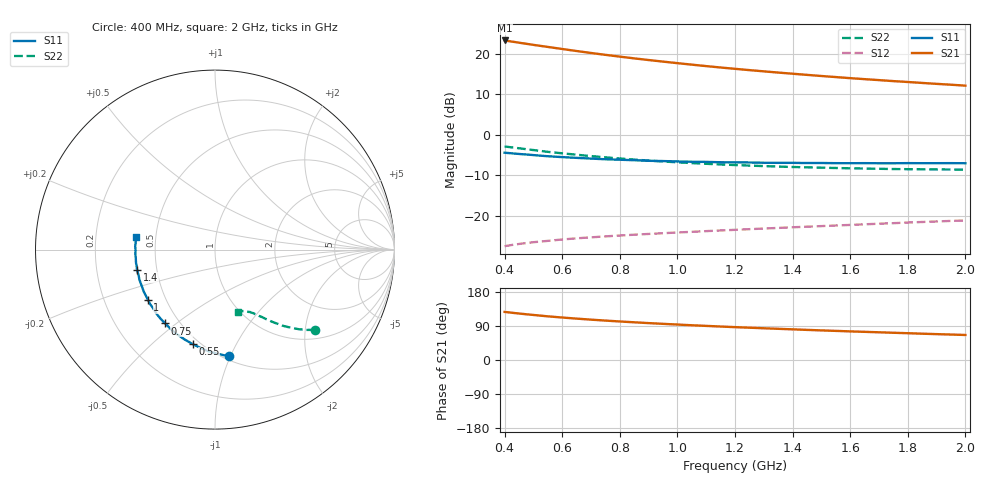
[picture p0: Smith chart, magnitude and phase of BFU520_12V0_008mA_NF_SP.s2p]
! Filename:  P:\Prog\Test\Noise\ATS_data\Testdata_Net\06 Compressed Noise after Statistics\BFU520_APG2013_37_A05_12p0V_008mA_NF_CM01_D.sf
! Date/Time: Fri 26/Apr/2013 14:13:14
! BFU520_APG2013_37_A05_12p0V_1to20mA_NF_CM01_Bias5_R.sf
! Noise Parameter Data File
! BFU520_APG2013_37_A05_12p0V_1to20mA_NF_CM01
! Date/time: Tue Apr 23 19:55:39 2013
! VAR V_out= 12.001000
! VAR I_out= 7.995000
! VAR V_in= 0.812000
! VAR I_in= 0.079005
! Device data file deembeded for feedlines and parallel
! Original file: \06 Compressed Noise after Statistics\BFU520_APG2013_37_A05_12p0V_008mA_NF_CM01_R.sf
! Feed-files: PR047V01_250413_Feed1.s2p, PR047V01_250413_Feed2.s2p
! Parallel-file: PR047V01_250413_Par.s2p
# MHz S MA R 50
!  Freq-MHz  S11-mag  S11-arg  S21-mag  S21-arg  S12-mag  S12-arg  S22-mag  S22-arg
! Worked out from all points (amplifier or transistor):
!   37 points, 400 MHz to 2 GHz, reference 50 ohm
!   highest |S21| = 23.3 dB at 400 MHz (marker M1)
!   |S21| within 3 dB of that: start of sweep to 690.5 MHz
!   unconditionally stable (mu >= 1): 1.988 GHz to end of sweep
!   at 500 MHz: K = 0.40, MSG = 24.4 dB, |S12| = -26.6 dB
!   at 1.1 GHz: K = 0.74, MSG = 20.4 dB, |S12| = -23.8 dB
!   at 2 GHz: K = 1.00, MAG = 16.3 dB, |S12| = -21.2 dB
!   lowest NFmin = 0.82 dB at 420 MHz
!   S11 on the Smith chart (normalised r, x): 400 MHz: 0.54, -0.99; 550 MHz: 0.46, -0.68; 750 MHz: 0.42, -0.46; 1 GHz: 0.40, -0.28; 1.4 GHz: 0.39, -0.11; 2 GHz: 0.39, +0.07
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400  0.5982 -82.4  14.55 126.9  0.04197 54.5  0.7142 -38.6
433  0.5842 -87.3  13.95 124.1  0.04383 53.1  0.6902 -40.4
460  0.5735 -91.2  13.49 121.9  0.04519 52.1  0.6723 -41.7
500  0.5592 -96.6  12.84 118.9  0.04697 50.7  0.6454 -43.5
550  0.5413 -103.2  12.11 115.2  0.0488 49.4  0.6134 -45.3
600  0.528 -108.9  11.42 112.1  0.05075 48.4  0.5885 -47.0
650  0.5167 -114.3  10.78 109.2  0.05248 47.5  0.5648 -48.5
700  0.5063 -119.2  10.19 106.5  0.05394 46.8  0.5434 -49.7
750  0.4965 -124.0  9.665 104.0  0.05544 46.3  0.5249 -50.9
800  0.4901 -128.2  9.183 101.7  0.05682 46.0  0.5073 -52.0
850  0.4834 -132.4  8.745 99.5  0.05815 45.6  0.4919 -52.8
900  0.4753 -136.4  8.34 97.3  0.05943 45.5  0.4787 -53.8
950  0.4718 -140.0  7.973 95.4  0.06067 45.3  0.4659 -54.6
1000  0.4667 -143.3  7.632 93.5  0.06194 45.3  0.4553 -55.3
1050  0.4624 -146.9  7.314 91.7  0.06312 45.3  0.4454 -56.2
1200  0.4543 -155.8  6.496 86.7  0.06679 45.4  0.4212 -58.3
1300  0.4496 -160.9  6.044 83.7  0.06928 45.7  0.4089 -59.6
1400  0.4485 -165.6  5.652 80.9  0.07179 46.1  0.3986 -60.7
1500  0.4463 -170.5  5.298 78.1  0.07428 46.3  0.391 -62.2
1600  0.4436 -175.0  4.983 75.5  0.07678 46.5  0.3841 -63.6
1750  0.4431 179.1  4.58 71.8  0.08072 47.0  0.376 -65.6
2000  0.4434 170.6  4.025 66.0  0.08715 47.6  0.3696 -69.3
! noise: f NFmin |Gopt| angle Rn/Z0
400  0.8974  0.09677  29.94  0.1301
460  0.84  0.05756  45.51  0.1126
600  0.8936  0.06754  34.17  0.128
800  0.888  0.07407  70.25  0.1158
1000  0.9249  0.07729  94.45  0.108
1200  0.96  0.09014  101.5  0.11
1400  0.977  0.1019  119.3  0.1053
1600  1.015  0.1106  138  0.0999
1800  0.9848  0.1349  151.9  0.0911
2000  1.067  0.1349  158.6  0.0997
